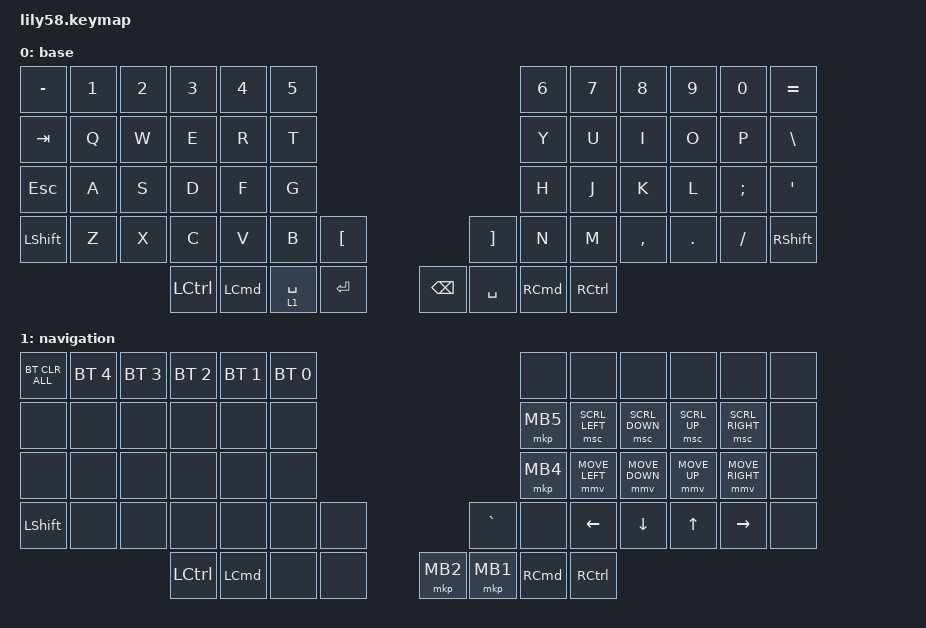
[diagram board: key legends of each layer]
/*
 * Copyright (c) 2020 The ZMK Contributors
 *
 * SPDX-License-Identifier: MIT
 */

#include <behaviors.dtsi>
#include <dt-bindings/zmk/keys.h>
#include <dt-bindings/zmk/bt.h>

// ==== MOUSE-KEY <section begins> ====

#define ZMK_MOUSE_DEFAULT_MOVE_VAL 1700
#define ZMK_MOUSE_DEFAULT_SCRL_VAL 15

#include <dt-bindings/zmk/mouse.h>
#include <behaviors/mouse_keys.dtsi>
#include <behaviors/mouse_move.dtsi>
#include <behaviors/mouse_scroll.dtsi>
#include <behaviors/macros.dtsi>

&mmv {
  acceleration-exponent = <1>;
  time-to-max-speed-ms = <500>;
  delay-ms = <0>;
};

&msc {
  acceleration-exponent = <1>;
  time-to-max-speed-ms = <500>;
  delay-ms = <0>;
};

// ==== MOUSE-KEY <section ends> =====

/ {
    behaviors {
        // ==== Home Row Mods <section begins> =====
        // TODO: Consider using the fast config for the thumb so that the mouse and
        // and arrow layers are accessible faster.
        // TODO: Try combos for ESC and TAB: E+R for TAB and U+I for ESC.
        // TODO: Consider moving arrow keys to a separate layer with a right
        // space key triggering that layer.

        #define FAST_HOLDING_TIME 160
        #define SLOW_HOLDING_TIME 300

        // Index finger.
        mod_fast: hrm_mod_fast {
            compatible = "zmk,behavior-hold-tap";
            flavor = "tap-preferred";
            tapping-term-ms = <FAST_HOLDING_TIME>;
            #binding-cells = <2>;
            bindings = <&kp>, <&kp>;
        };

        // Middle finger.
        layer_fast: hrm_layer_fast {
            compatible = "zmk,behavior-hold-tap";
            flavor = "tap-preferred";
            tapping-term-ms = <FAST_HOLDING_TIME>;
            #binding-cells = <2>;
            bindings = <&mo>, <&kp>;
        };

        // Ring finger & pinky finger.
        mod_slow: hrm_mod_slow {
            compatible = "zmk,behavior-hold-tap";
            flavor = "tap-preferred";
            tapping-term-ms = <SLOW_HOLDING_TIME>;
            #binding-cells = <2>;
            bindings = <&kp>, <&kp>;
        };

        // Thumb.
        layer_slow: hrm_layer_slow {
            compatible = "zmk,behavior-hold-tap";
            flavor = "tap-preferred";
            tapping-term-ms = <SLOW_HOLDING_TIME>;
            #binding-cells = <2>;
            bindings = <&mo>, <&kp>;
        };
        // ==== Home Row Mods <section ends> =====
    };
    keymap {
        compatible = "zmk,keymap";
        default_layer {
            display-name = "base"; // 0
            bindings = <
&kp MINUS   &kp N1 &kp N2 &kp N3   &kp N4   &kp N5                                                                           &kp N6 &kp N7   &kp N8    &kp N9  &kp N0   &kp EQUAL
&kp TAB     &kp Q  &kp W  &kp E    &kp R    &kp T                                                                              &kp Y  &kp U    &kp I     &kp O   &kp P    &kp BSLH
&kp ESC     &kp A  &kp S  &kp D    &kp F    &kp G                                                                                &kp H  &kp J    &kp K     &kp L   &kp SEMI &kp SQT
&kp LSHFT   &kp Z  &kp X  &kp C    &kp V    &kp B  &kp LBKT                                                           &kp RBKT &kp N  &kp M    &kp COMMA &kp DOT &kp FSLH &kp RSHFT
                        &kp LEFT_CONTROL &kp LEFT_COMMAND &layer_slow 1 SPACE  &kp RET        &kp BSPC    &kp SPACE    &kp RIGHT_COMMAND &kp RIGHT_CONTROL
            >;
        };

        layer_navigation {
            display-name = "navigation"; // 1
            bindings = <
   &bt BT_CLR_ALL  &bt BT_SEL 4  &bt BT_SEL 3      &bt BT_SEL 2       &bt BT_SEL 1   &bt BT_SEL 0                        &none     &none           &none               &none            &none               &none 
   &none           &none         &none             &none              &none          &none                               &mkp MB5  &msc SCRL_LEFT  &msc SCRL_DOWN      &msc SCRL_UP     &msc SCRL_RIGHT     &none
   &none           &none         &none             &none              &none          &none                               &mkp MB4  &mmv MOVE_LEFT  &mmv MOVE_DOWN      &mmv MOVE_UP     &mmv MOVE_RIGHT     &none
   &kp LSHFT       &none         &none             &none              &none          &none         &none     &kp GRAVE   &none     &kp LEFT        &kp DOWN            &kp UP           &kp RIGHT           &none
                                 &kp LEFT_CONTROL  &kp LEFT_COMMAND   &none          &none                               &mkp MB2  &mkp MB1        &kp RIGHT_COMMAND   &kp RIGHT_CONTROL
            >;
        };
    };
};
